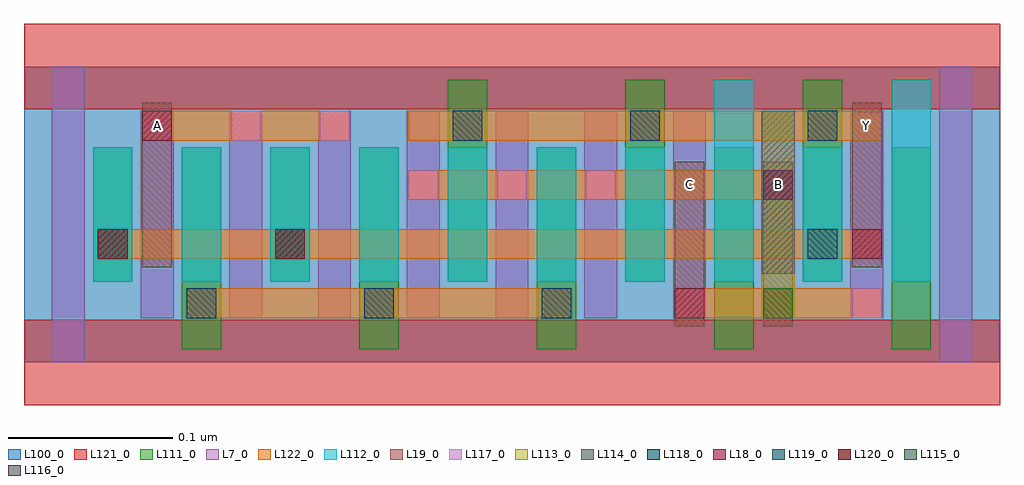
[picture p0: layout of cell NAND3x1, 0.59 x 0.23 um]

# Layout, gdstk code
import gdstk
lib = gdstk.Library(unit=1e-6, precision=2.5e-10)
def R(c, l, rs):  # rectangles x0, y0, x1, y1
    for r in rs: c.add(gdstk.rectangle(r[:2], r[2:], *l))
def A(c, l, x, y, w, h, nx, ny, dx, dy):  # array of equal rectangles
    R(c, l, [(x+i*dx, y+j*dy, x+i*dx+w, y+j*dy+h) for i in range(nx) for j in range(ny)])
L7_0 = (7, 0)
L18_0 = (18, 0)
L19_0 = (19, 0)
L100_0 = (100, 0)
L111_0 = (111, 0)
L112_0 = (112, 0)
L113_0 = (113, 0)
L114_0 = (114, 0)
L115_0 = (115, 0)
L116_0 = (116, 0)
L117_0 = (117, 0)
L118_0 = (118, 0)
L119_0 = (119, 0)
L120_0 = (120, 0)
L121_0 = (121, 0)
L122_0 = (122, 0)

nand3x1 = lib.new_cell('NAND3x1')
A(nand3x1, L7_0, 0.071, 0.027, 0.02, 0.126, 7, 1, 0.054, 0)
R(nand3x1, L7_0, [(0.017,0,0.037,0.18), (0.557,0,0.577,0.18), (0.503,0.027,0.523,0.153)])
R(nand3x1, L18_0, [(0.396,0.027,0.414,0.045), (0.504,0.063,0.522,0.081), (0.45,0.099,0.468,0.117), (0.072,0.135,0.09,0.153)])
R(nand3x1, L19_0, [(0.396,0.022,0.414,0.122), (0.45,0.022,0.468,0.122), (0.072,0.058,0.09,0.158), (0.504,0.058,0.522,0.158)])
R(nand3x1, L100_0, [(0,0,0.594,0.18)])
A(nand3x1, L111_0, 0.096, 0.008, 0.024, 0.123, 5, 1, 0.108, 0)
A(nand3x1, L111_0, 0.258, 0.049, 0.024, 0.123, 3, 1, 0.108, 0)
R(nand3x1, L111_0, [(0.042,0.049,0.066,0.131), (0.15,0.049,0.174,0.131)])
A(nand3x1, L112_0, 0.042, 0.049, 0.024, 0.082, 7, 1, 0.054, 0)
R(nand3x1, L112_0, [(0.42,0.049,0.444,0.172), (0.474,0.049,0.498,0.131), (0.528,0.049,0.552,0.172)])
R(nand3x1, L113_0, [(0.449,0.027,0.469,0.153)])
R(nand3x1, L114_0, [(0.449,0.054,0.469,0.153)])
R(nand3x1, L115_0, [(0.45,0.027,0.468,0.045)])
R(nand3x1, L116_0, [(0.45,0.099,0.468,0.117)])
A(nand3x1, L117_0, 0.234, 0.099, 0.018, 0.018, 3, 1, 0.054, 0)
A(nand3x1, L117_0, 0.072, 0.135, 0.018, 0.018, 3, 1, 0.054, 0)
R(nand3x1, L117_0, [(0.396,0.027,0.414,0.045), (0.504,0.027,0.522,0.045)])
A(nand3x1, L118_0, 0.099, 0.027, 0.018, 0.018, 3, 1, 0.108, 0)
A(nand3x1, L118_0, 0.261, 0.135, 0.018, 0.018, 3, 1, 0.108, 0)
R(nand3x1, L119_0, [(0.045,0.063,0.063,0.081), (0.153,0.063,0.171,0.081), (0.477,0.063,0.495,0.081)])
R(nand3x1, L120_0, [(0.045,0.063,0.063,0.081), (0.153,0.063,0.171,0.081)])
R(nand3x1, L121_0, [(0,-0.026,0.594,0.026), (0,0.154,0.594,0.206)])
R(nand3x1, L122_0, [(0.099,0.027,0.333,0.045), (0.396,0.027,0.522,0.045), (0.045,0.063,0.522,0.081), (0.234,0.099,0.468,0.117), (0.072,0.135,0.198,0.153), (0.234,0.135,0.522,0.153)])
nand3x1.add(gdstk.Label('Y', (0.513,0.144), layer=19, texttype=251))
nand3x1.add(gdstk.Label('C', (0.405,0.108), layer=19, texttype=251))
nand3x1.add(gdstk.Label('B', (0.459,0.108), layer=19, texttype=251))
nand3x1.add(gdstk.Label('A', (0.081,0.144), layer=19, texttype=251))

lib.write_gds('NAND3x1.gds')
